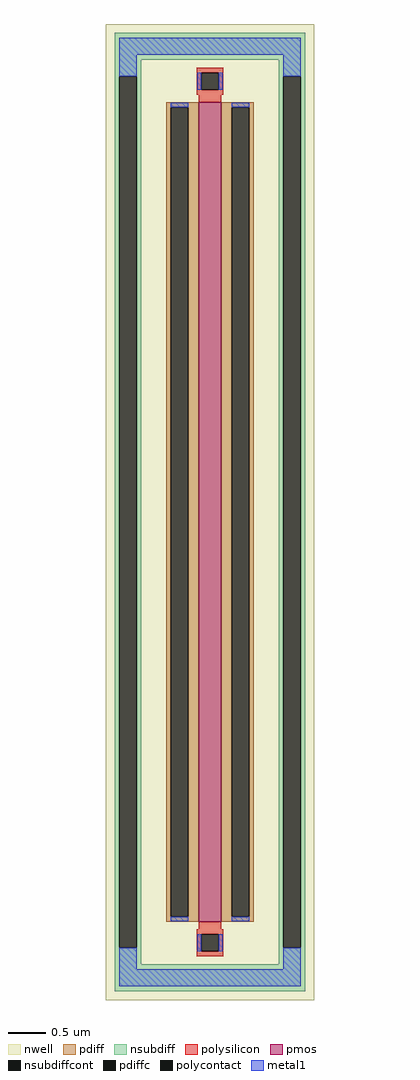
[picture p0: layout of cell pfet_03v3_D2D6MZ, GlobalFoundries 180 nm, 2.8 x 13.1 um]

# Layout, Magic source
magic
tech gf180mcuD
magscale 1 10
<< nwell >>
rect -280 -1310 280 1310
<< pmos >>
rect -30 -1100 30 1100
<< pdiff >>
rect -118 1087 -30 1100
rect -118 -1087 -105 1087
rect -59 -1087 -30 1087
rect -118 -1100 -30 -1087
rect 30 1087 118 1100
rect 30 -1087 59 1087
rect 105 -1087 118 1087
rect 30 -1100 118 -1087
<< pdiffc >>
rect -105 -1087 -59 1087
rect 59 -1087 105 1087
<< nsubdiff >>
rect -256 1214 256 1286
rect -256 1170 -184 1214
rect -256 -1170 -243 1170
rect -197 -1170 -184 1170
rect 184 1170 256 1214
rect -256 -1214 -184 -1170
rect 184 -1170 197 1170
rect 243 -1170 256 1170
rect 184 -1214 256 -1170
rect -256 -1286 256 -1214
<< nsubdiffcont >>
rect -243 -1170 -197 1170
rect 197 -1170 243 1170
<< polysilicon >>
rect -36 1179 36 1192
rect -36 1133 -23 1179
rect 23 1133 36 1179
rect -36 1120 36 1133
rect -30 1100 30 1120
rect -30 -1120 30 -1100
rect -36 -1133 36 -1120
rect -36 -1179 -23 -1133
rect 23 -1179 36 -1133
rect -36 -1192 36 -1179
<< polycontact >>
rect -23 1133 23 1179
rect -23 -1179 23 -1133
<< metal1 >>
rect -243 1227 243 1273
rect -243 1170 -197 1227
rect -34 1133 -23 1179
rect 23 1133 34 1179
rect 197 1170 243 1227
rect -105 1087 -59 1098
rect -105 -1098 -59 -1087
rect 59 1087 105 1098
rect 59 -1098 105 -1087
rect -243 -1227 -197 -1170
rect -34 -1179 -23 -1133
rect 23 -1179 34 -1133
rect 197 -1227 243 -1170
rect -243 -1273 243 -1227
<< properties >>
string FIXED_BBOX -220 -1250 220 1250
string gencell pfet_03v3
string library gf180mcu
string parameters w 11.0 l 0.3 m 1 nf 1 diffcov 100 polycov 100 guard 1 glc 1 grc 1 gtc 0 gbc 0 tbcov 100 rlcov 100 topc 1 botc 1 poverlap 0 doverlap 1 lmin 0.28 wmin 0.22 class mosfet full_metal 1 compatible {pfet_03v3 pfet_05v0 pfet_06v0} ad {int((nf+1)/2) * W/nf * 0.18u} as {int((nf+2)/2) * W/nf * 0.18u} pd {2*int((nf+1)/2) * (W/nf + 0.18u)} ps {2*int((nf+2)/2) * (W/nf + 0.18u)} nrd {0.18u / W} nrs {0.18u / W} sa 0 sb 0 sd 0
<< end >>
